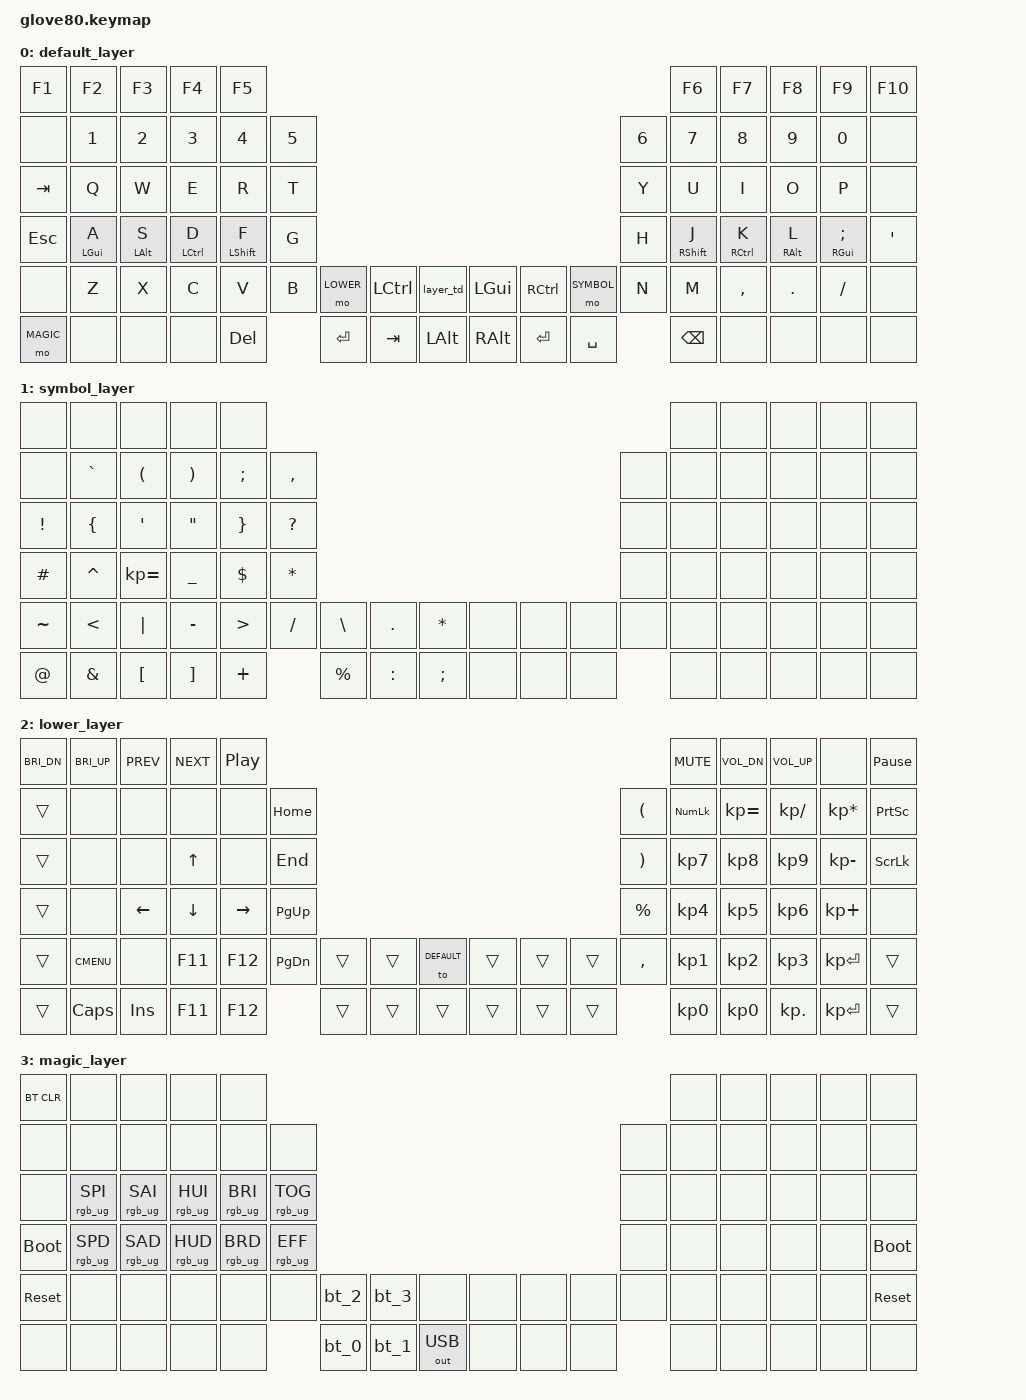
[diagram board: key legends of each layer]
/*
 * Copyright (c) 2020 The ZMK Contributors
 *
 * SPDX-License-Identifier: MIT
 */

#include <behaviors.dtsi>
#include <dt-bindings/zmk/keys.h>
#include <dt-bindings/zmk/bt.h>
#include <dt-bindings/zmk/ext_power.h>
#include <dt-bindings/zmk/outputs.h>
#include <dt-bindings/zmk/rgb.h>

// layers
#define DEFAULT 0
#define SYMBOL  1
#define LOWER   2
#define MAGIC   3

/ {
    behaviors {
        // For the "layer" key, it'd nice to be able to use it as either a shift or a toggle.
        // Configure it as a tap dance, so the first tap (or hold) is a &mo and the second tap is a &to
        layer_td: tap_dance_0 {
            compatible = "zmk,behavior-tap-dance";
            #binding-cells = <0>;
            tapping-term-ms = <200>;
            bindings = <&mo LOWER>, <&to LOWER>;
        };

	hm: homerow_mods {
            compatible = "zmk,behavior-hold-tap";
            flavor = "balanced";
            #binding-cells = <2>;
            tapping-term-ms = <280>;
            require-prior-idle-ms = <175>;
            bindings = <&kp>, <&kp>;
        };
    };

    macros {
        bt_0: bt_profile_macro_0 {
            compatible = "zmk,behavior-macro";
            #binding-cells = <0>;
            bindings
                = <&out OUT_BLE>,
                  <&bt BT_SEL 0>;
        };

        bt_1: bt_profile_macro_1 {
            compatible = "zmk,behavior-macro";
            #binding-cells = <0>;
            bindings
                = <&out OUT_BLE>,
                  <&bt BT_SEL 1>;
        };

        bt_2: bt_profile_macro_2 {
            compatible = "zmk,behavior-macro";
            #binding-cells = <0>;
            bindings
                = <&out OUT_BLE>,
                  <&bt BT_SEL 2>;
        };

        bt_3: bt_profile_macro_3 {
            compatible = "zmk,behavior-macro";
            #binding-cells = <0>;
            bindings
                = <&out OUT_BLE>,
                  <&bt BT_SEL 3>;
        };
    };


    keymap {
        compatible = "zmk,keymap";

        default_layer {
            // ---------------------------------------------------------------------------------------------------------------------------------
            // |  F1   |  F2 |  F3 |  F4  |  F5  |                                                               |  F6   |  F7   |  F8  |   F9  |  F10 |
            // |  =    |  1  |  2  |  3   |  4   |  5   |                                                 |  6   |   7   |   8   |  9   |   0   |   -  |
            // |  TAB  |  Q  |  W  |  E   |  R   |  T   |                                                 |  Y   |   U   |   I   |  O   |   P   |   \  |
            // |  ESC  |  A  |  S  |  D   |  F   |  G   |                                                 |  H   |   J   |   K   |  L   |   ;   |   '  |
            // |   `   |  Z  |  X  |  C   |  V   |  B   | LSHFT | LCTRL | LOWER | | LGUI  | RCTRL | RSHFT |  N   |   M   |   ,   |  .   |   /   | PGUP |
            // | MAGIC | HOME| END | LEFT | RIGHT|      | BSPC  | DEL   | LALT  | | RALT  | RET   | SPACE |      |  UP   | DOWN  |  [   |   ]   | PGDN |

            bindings = <
            &kp F1         &kp F2      &kp F3      &kp F4       &kp F5                                                                                          &kp F6       &kp F7      &kp F8      &kp F9        &kp F10
            &none          &kp N1      &kp N2      &kp N3       &kp N4       &kp N5                                                                     &kp N6  &kp N7       &kp N8      &kp N9      &kp N0        &none
            &kp TAB        &kp Q       &kp W       &kp E        &kp R        &kp T                                                                      &kp Y   &kp U        &kp I       &kp O       &kp P         &none
            &kp ESC        &hm LGUI A  &hm LALT S  &hm LCTRL D  &hm LSHIFT F &kp G                                                                      &kp H   &hm RSHIFT J &hm RCTRL K &hm RALT L  &hm RGUI SEMI &kp SQT
            &none          &kp Z       &kp X       &kp C        &kp V        &kp B   &mo LOWER   &kp LCTRL   &layer_td  &kp LGUI  &kp RCTRL &mo SYMBOL  &kp N   &kp M        &kp COMMA   &kp DOT     &kp FSLH      &none
            &mo MAGIC      &none       &none       &none        &kp DELETE           &kp ENTER   &kp TAB     &kp LALT   &kp RALT  &kp RET   &kp SPACE           &kp BSPC     &none       &none       &none         &none
            >;
        };

        symbol_layer {
            bindings = <
            &none          &none         &none         &none      &none                                                                                          &none        &none      &none       &none     &none
            &none          &kp GRAVE     &kp LPAR      &kp RPAR   &kp SEMI    &kp COMMA                                                                 &none    &none        &none      &none       &none     &none
            &kp EXCL       &kp LBRC      &kp SQT       &kp DQT    &kp RBRC    &kp QMARK                                                                 &none    &none        &none      &none       &none     &none
            &kp HASH       &kp CARET     &kp KP_EQUAL  &kp UNDER  &kp DLLR    &kp STAR                                                                  &none    &none        &none      &none       &none     &none
            &kp TILDE      &kp LT        &kp PIPE      &kp MINUS  &kp GT      &kp FSLH   &kp BSLH     &kp DOT     &kp STAR   &none     &none     &none  &none    &none        &none      &none       &none     &none
            &kp AT         &kp AMPS      &kp LBKT      &kp RBKT   &kp PLUS               &kp PRCNT    &kp COLON   &kp SEMI   &none     &none     &none           &none        &none      &none       &none     &none
            >;
        };

        lower_layer {
            bindings = <
            &kp C_BRI_DN      &kp C_BRI_UP        &kp C_PREV      &kp C_NEXT      &kp C_PP                                                                                                           &kp C_MUTE   &kp C_VOL_DN &kp C_VOL_UP  &none           &kp PAUSE_BREAK
            &trans            &none               &none           &none           &none           &kp HOME                                                                              &kp LPAR     &kp KP_NUM   &kp KP_EQUAL &kp KP_DIVIDE &kp KP_MULTIPLY &kp PSCRN
            &trans            &none               &none           &kp UP          &none           &kp END                                                                               &kp RPAR     &kp KP_N7    &kp KP_N8    &kp KP_N9     &kp KP_MINUS    &kp SLCK
            &trans            &none               &kp LEFT        &kp DOWN        &kp RIGHT       &kp PG_UP                                                                             &kp PRCNT    &kp KP_N4    &kp KP_N5    &kp KP_N6     &kp KP_PLUS     &none
            &trans            &kp K_CMENU         &none           &kp F11         &kp F12         &kp PG_DN       &trans      &trans      &to DEFAULT &trans      &trans      &trans    &kp COMMA    &kp KP_N1    &kp KP_N2    &kp KP_N3     &kp KP_ENTER    &trans
            &trans            &kp CAPS            &kp INS         &kp F11         &kp F12                         &trans      &trans      &trans      &trans      &trans      &trans                 &kp KP_N0    &kp KP_N0    &kp KP_DOT    &kp KP_ENTER    &trans
            >;
        };

        magic_layer {
            bindings = <
            &bt BT_CLR        &none               &none           &none           &none                                                                                                           &none      &none      &none      &none      &none
            &none             &none               &none           &none           &none           &none                                                                                &none      &none      &none      &none      &none      &none
            &none             &rgb_ug RGB_SPI     &rgb_ug RGB_SAI &rgb_ug RGB_HUI &rgb_ug RGB_BRI &rgb_ug RGB_TOG                                                                      &none      &none      &none      &none      &none      &none
            &bootloader       &rgb_ug RGB_SPD     &rgb_ug RGB_SAD &rgb_ug RGB_HUD &rgb_ug RGB_BRD &rgb_ug RGB_EFF                                                                      &none      &none      &none      &none      &none      &bootloader
            &sys_reset        &none               &none           &none           &none           &none           &bt_2     &bt_3     &none            &none     &none     &none       &none      &none      &none      &none      &none      &sys_reset
            &none             &none               &none           &none           &none                           &bt_0     &bt_1     &out OUT_USB     &none     &none     &none                  &none      &none      &none      &none      &none
            >;
        };
    };
};
